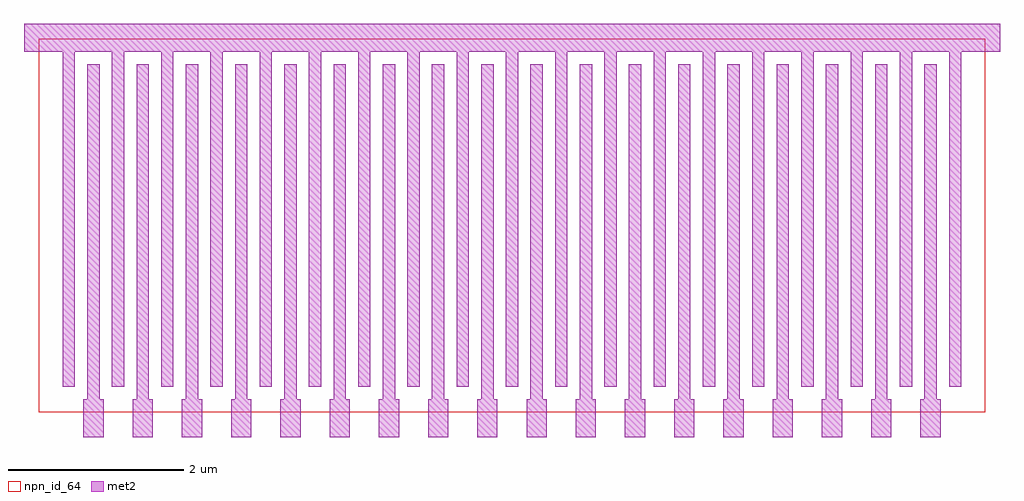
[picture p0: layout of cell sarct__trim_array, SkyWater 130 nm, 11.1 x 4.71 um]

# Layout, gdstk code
import gdstk
lib = gdstk.Library(unit=1e-6, precision=1e-09)
def R(c, l, rs):  # rectangles x0, y0, x1, y1
    for r in rs: c.add(gdstk.rectangle(r[:2], r[2:], *l))
met2 = (69, 20)
npn_id_64 = (82, 64)

sarcta__c0 = lib.new_cell('sarcta__C0')
R(sarcta__c0, met2, [(0.72,0.12,0.86,3.93), (0.44,0.26,0.58,4.07), (1,0.26,1.14,4.07), (0,4.07,1.58,4.39)])
R(sarcta__c0, npn_id_64, [(0.17,-0.03,1.41,4.22)])
sarcta__c0.add(gdstk.FlexPath([(0.79,0.005),(0.79,-0.2)], 0.23, ends="extended", simple_path=True, layer=69, datatype=20))  # met2

sarct__trim_array = lib.new_cell('sarct__trim_array')
sarct__trim_array.add(gdstk.Reference(sarcta__c0, (0.56,0.115)))
sarct__trim_array.add(gdstk.Reference(sarcta__c0, (1.12,0.115)))
sarct__trim_array.add(gdstk.Reference(sarcta__c0, (1.68,0.115)))
sarct__trim_array.add(gdstk.Reference(sarcta__c0, (2.24,0.115)))
sarct__trim_array.add(gdstk.Reference(sarcta__c0, (2.8,0.115)))
sarct__trim_array.add(gdstk.Reference(sarcta__c0, (3.36,0.115)))
sarct__trim_array.add(gdstk.Reference(sarcta__c0, (3.92,0.115)))
sarct__trim_array.add(gdstk.Reference(sarcta__c0, (4.48,0.115)))
sarct__trim_array.add(gdstk.Reference(sarcta__c0, (5.04,0.115)))
sarct__trim_array.add(gdstk.Reference(sarcta__c0, (5.6,0.115)))
sarct__trim_array.add(gdstk.Reference(sarcta__c0, (6.16,0.115)))
sarct__trim_array.add(gdstk.Reference(sarcta__c0, (6.72,0.115)))
sarct__trim_array.add(gdstk.Reference(sarcta__c0, (7.28,0.115)))
sarct__trim_array.add(gdstk.Reference(sarcta__c0, (7.84,0.115)))
sarct__trim_array.add(gdstk.Reference(sarcta__c0, (8.4,0.115)))
sarct__trim_array.add(gdstk.Reference(sarcta__c0, (8.96,0.115)))
sarct__trim_array.add(gdstk.Reference(sarcta__c0, (9.52,0.115)))
sarct__trim_array.add(gdstk.Reference(sarcta__c0, (0,0.115)))

lib.write_gds('sarct__trim_array.gds')
